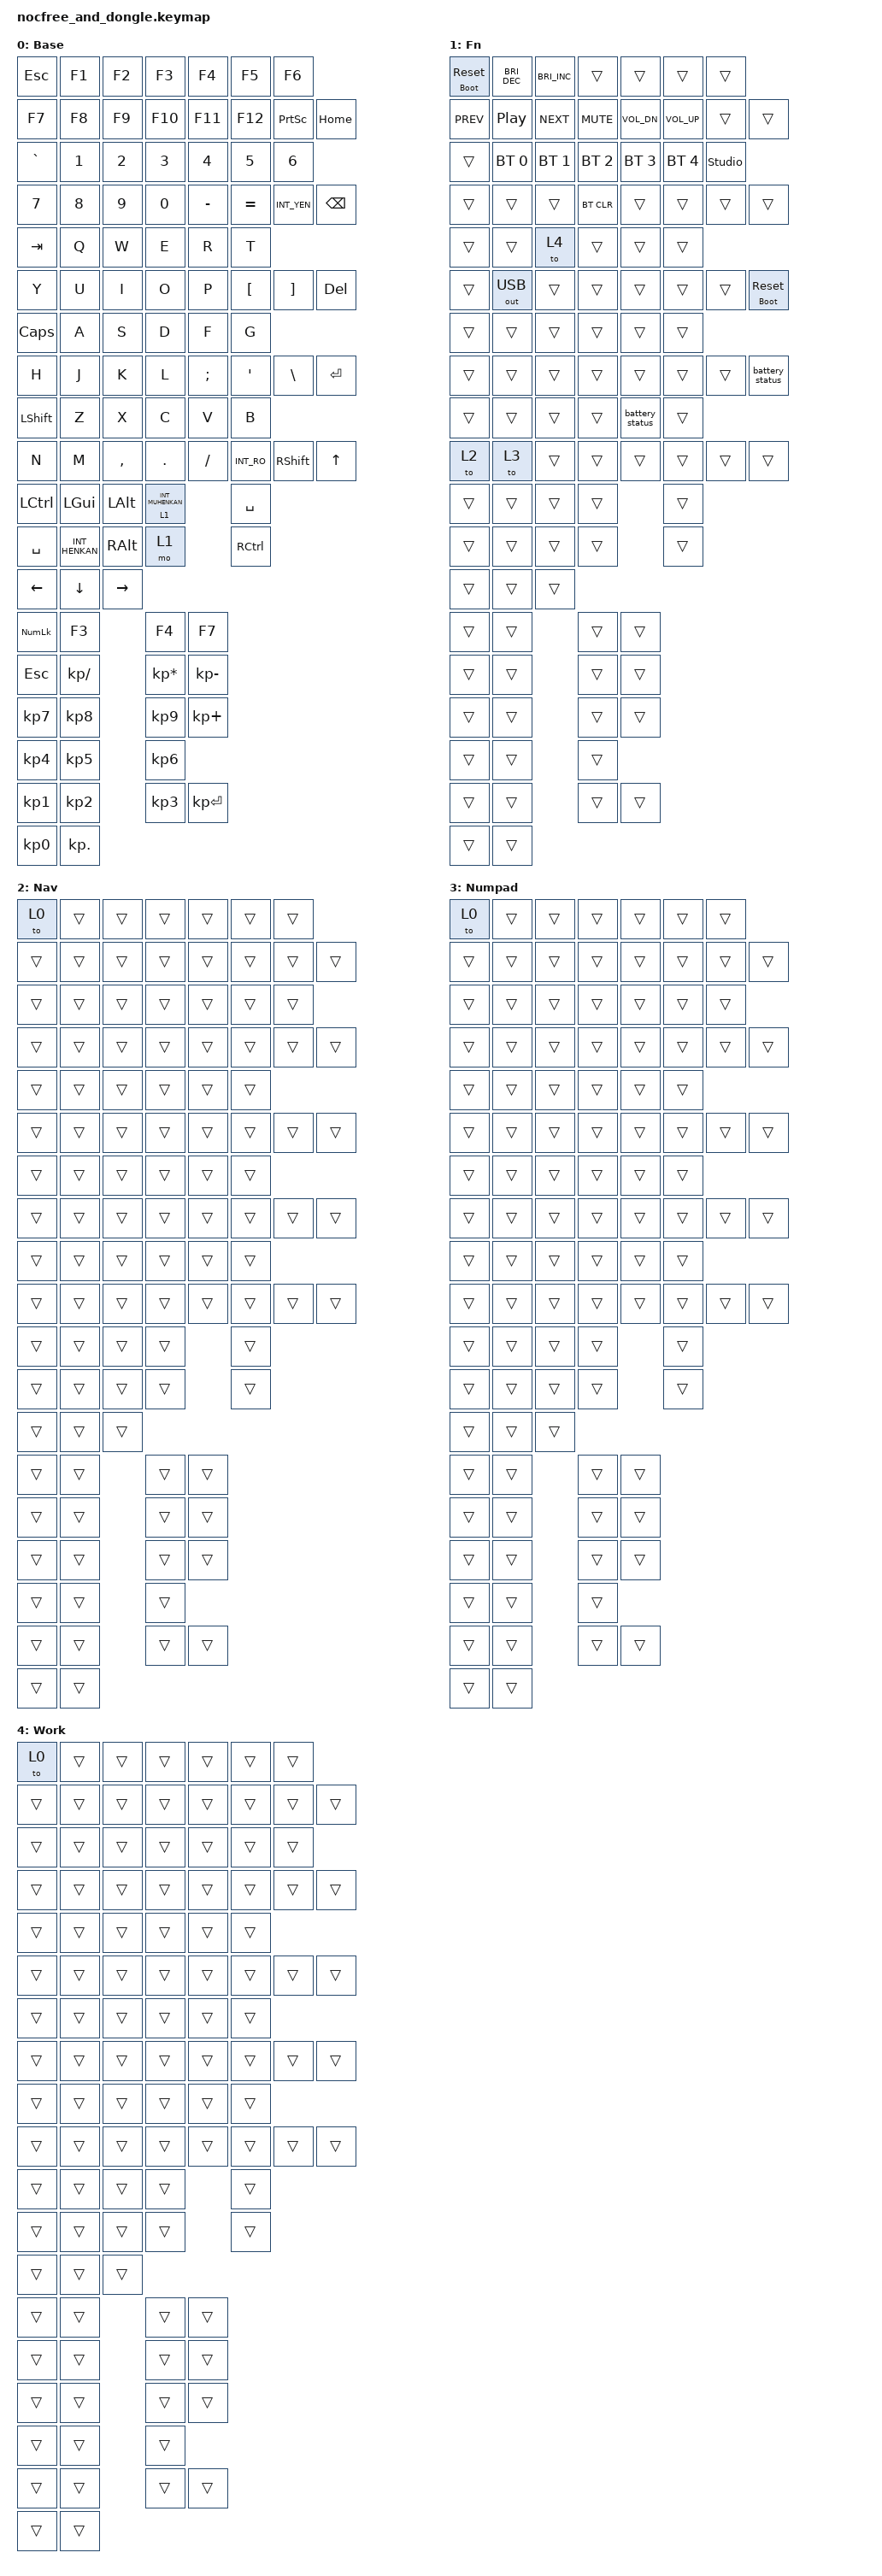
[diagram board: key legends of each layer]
/*
 * SPDX-License-Identifier: MIT
 *
 * Dongle-central keymap derived from electricdoc187/NocFree-and-zmk jis-studio.
 * Base and Fn are intentionally kept behavior-for-behavior compatible. Four
 * additional transparent layers are preallocated for ZMK Studio editing.
 */
#include <behaviors.dtsi>
#include <dt-bindings/zmk/bt.h>
#include <dt-bindings/zmk/keys.h>
#include <dt-bindings/zmk/outputs.h>

/ {
    behaviors {
        battery_status: battery_status {
            compatible = "nocfree,behavior-battery-status";
            #binding-cells = <0>;
            display-name = "Battery Status";
        };

        bootloader_hold: bootloader_hold {
            compatible = "zmk,behavior-hold-tap";
            label = "BOOTLOADER_HOLD";
            bindings = <&bootloader>, <&sys_reset>;
            #binding-cells = <2>;
            tapping-term-ms = <1500>;
            flavor = "tap-preferred";
        };
    };

    keymap {
        compatible = "zmk,keymap";

        default_layer {
            display-name = "Base";
            bindings = <
                /* Function row */
                &kp ESC   &kp F1    &kp F2    &kp F3    &kp F4    &kp F5    &kp F6
                &kp F7    &kp F8    &kp F9    &kp F10   &kp F11   &kp F12   &kp PSCRN &kp HOME
                /* Number row. GRAVE is on the physical Hankaku/Zenkaku key. */
                &kp GRAVE &kp N1    &kp N2    &kp N3    &kp N4    &kp N5    &kp N6
                &kp N7    &kp N8    &kp N9    &kp N0    &kp MINUS &kp EQUAL &kp INT_YEN &kp BSPC
                /* QWERTY row */
                &kp TAB   &kp Q     &kp W     &kp E     &kp R     &kp T
                &kp Y     &kp U     &kp I     &kp O     &kp P     &kp LBKT &kp RBKT &kp DEL
                /* Home row */
                &kp CAPS  &kp A     &kp S     &kp D     &kp F     &kp G
                &kp H     &kp J     &kp K     &kp L     &kp SEMI  &kp SQT &kp BSLH &kp RET
                /* Shift row */
                &kp LSHFT &kp Z     &kp X     &kp C     &kp V     &kp B
                &kp N     &kp M     &kp COMMA &kp DOT   &kp FSLH  &kp INT_RO &kp RSHFT &kp UP
                /* Bottom row: tap Muhenkan / hold Fn, plus a separate Fn key. */
                &kp LCTRL &kp LGUI       &kp LALT &lt 1 INT_MUHENKAN &kp SPACE
                &kp SPACE &kp INT_HENKAN &kp RALT &mo 1              &kp RCTRL
                &kp LEFT  &kp DOWN       &kp RIGHT
                /* NocFree Pad */
                &kp KP_NUMLOCK &kp F3        &kp F4          &kp F7
                &kp ESC        &kp KP_DIVIDE &kp KP_MULTIPLY &kp KP_MINUS
                &kp KP_N7      &kp KP_N8     &kp KP_N9       &kp KP_PLUS
                &kp KP_N4      &kp KP_N5     &kp KP_N6
                &kp KP_N1      &kp KP_N2     &kp KP_N3       &kp KP_ENTER
                &kp KP_N0      &kp KP_DOT
            >;
        };

        function_layer {
            display-name = "Fn";
            bindings = <
                /* Function row */
                &bootloader_hold 0 0 &kp C_BRIGHTNESS_DEC &kp C_BRIGHTNESS_INC &trans &trans &trans &trans
                &kp C_PREV &kp C_PP &kp C_NEXT &kp C_MUTE &kp C_VOL_DN &kp C_VOL_UP &trans &trans
                /* Number row */
                &trans &bt BT_SEL 0 &bt BT_SEL 1 &bt BT_SEL 2 &bt BT_SEL 3 &bt BT_SEL 4 &studio_unlock
                &trans &trans &trans &bt BT_CLR &trans &trans &trans &trans
                /* QWERTY row */
                &trans &trans &to 4 &trans &trans &trans
                &trans &out OUT_USB &trans &trans &trans &trans &trans &bootloader_hold 0 0
                /* Home row */
                &trans &trans &trans &trans &trans &trans
                &trans &trans &trans &trans &trans &trans &trans &battery_status
                /* Shift row */
                &trans &trans &trans &trans &battery_status &trans
                &to 2 &to 3 &trans &trans &trans &trans &trans &trans
                /* Bottom row */
                &trans &trans &trans &trans &trans
                &trans &trans &trans &trans &trans &trans &trans &trans
                /* Pad: inherit Base by default; editable in Studio. */
                &trans &trans &trans &trans &trans &trans &trans &trans
                &trans &trans &trans &trans &trans &trans &trans &trans
                &trans &trans &trans &trans &trans
            >;
        };

        navigation_layer {
            display-name = "Nav";
            bindings = <
                /* Function row */
                &to 0 &trans &trans &trans &trans &trans &trans &trans
                &trans &trans &trans &trans &trans &trans &trans
                /* Number row */
                &trans &trans &trans &trans &trans &trans &trans &trans
                &trans &trans &trans &trans &trans &trans &trans
                /* QWERTY row */
                &trans &trans &trans &trans &trans &trans &trans &trans
                &trans &trans &trans &trans &trans &trans
                /* Home row */
                &trans &trans &trans &trans &trans &trans &trans &trans
                &trans &trans &trans &trans &trans &trans
                /* Shift row */
                &trans &trans &trans &trans &trans &trans &trans &trans
                &trans &trans &trans &trans &trans &trans
                /* Bottom row */
                &trans &trans &trans &trans &trans &trans &trans &trans
                &trans &trans &trans &trans &trans
                /* Pad */
                &trans &trans &trans &trans &trans &trans &trans &trans
                &trans &trans &trans &trans &trans &trans &trans &trans
                &trans &trans &trans &trans &trans
            >;
        };

        numpad_layer {
            display-name = "Numpad";
            bindings = <
                /* Function row */
                &to 0 &trans &trans &trans &trans &trans &trans &trans
                &trans &trans &trans &trans &trans &trans &trans
                /* Number row */
                &trans &trans &trans &trans &trans &trans &trans &trans
                &trans &trans &trans &trans &trans &trans &trans
                /* QWERTY row */
                &trans &trans &trans &trans &trans &trans &trans &trans
                &trans &trans &trans &trans &trans &trans
                /* Home row */
                &trans &trans &trans &trans &trans &trans &trans &trans
                &trans &trans &trans &trans &trans &trans
                /* Shift row */
                &trans &trans &trans &trans &trans &trans &trans &trans
                &trans &trans &trans &trans &trans &trans
                /* Bottom row */
                &trans &trans &trans &trans &trans &trans &trans &trans
                &trans &trans &trans &trans &trans
                /* Pad */
                &trans &trans &trans &trans &trans &trans &trans &trans
                &trans &trans &trans &trans &trans &trans &trans &trans
                &trans &trans &trans &trans &trans
            >;
        };

        work_layer {
            display-name = "Work";
            bindings = <
                /* Function row */
                &to 0 &trans &trans &trans &trans &trans &trans &trans
                &trans &trans &trans &trans &trans &trans &trans
                /* Number row */
                &trans &trans &trans &trans &trans &trans &trans &trans
                &trans &trans &trans &trans &trans &trans &trans
                /* QWERTY row */
                &trans &trans &trans &trans &trans &trans &trans &trans
                &trans &trans &trans &trans &trans &trans
                /* Home row */
                &trans &trans &trans &trans &trans &trans &trans &trans
                &trans &trans &trans &trans &trans &trans
                /* Shift row */
                &trans &trans &trans &trans &trans &trans &trans &trans
                &trans &trans &trans &trans &trans &trans
                /* Bottom row */
                &trans &trans &trans &trans &trans &trans &trans &trans
                &trans &trans &trans &trans &trans
                /* Pad */
                &trans &trans &trans &trans &trans &trans &trans &trans
                &trans &trans &trans &trans &trans &trans &trans &trans
                &trans &trans &trans &trans &trans
            >;
        };

        reserved_layer {
            display-name = "Reserved";
            status = "reserved";
            bindings = <
                /* Function row */
                &trans &trans &trans &trans &trans &trans &trans &trans
                &trans &trans &trans &trans &trans &trans &trans
                /* Number row */
                &trans &trans &trans &trans &trans &trans &trans &trans
                &trans &trans &trans &trans &trans &trans &trans
                /* QWERTY row */
                &trans &trans &trans &trans &trans &trans &trans &trans
                &trans &trans &trans &trans &trans &trans
                /* Home row */
                &trans &trans &trans &trans &trans &trans &trans &trans
                &trans &trans &trans &trans &trans &trans
                /* Shift row */
                &trans &trans &trans &trans &trans &trans &trans &trans
                &trans &trans &trans &trans &trans &trans
                /* Bottom row */
                &trans &trans &trans &trans &trans &trans &trans &trans
                &trans &trans &trans &trans &trans
                /* Pad */
                &trans &trans &trans &trans &trans &trans &trans &trans
                &trans &trans &trans &trans &trans &trans &trans &trans
                &trans &trans &trans &trans &trans
            >;
        };
    };
};
